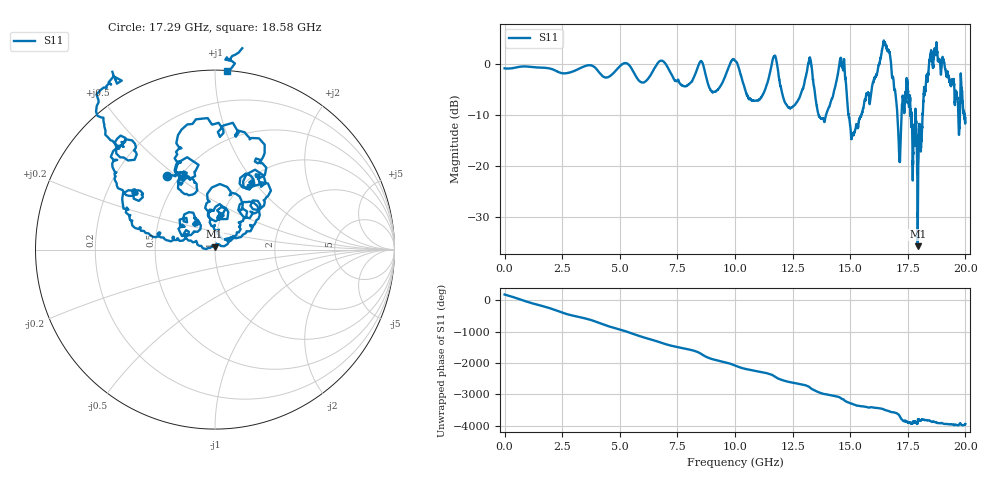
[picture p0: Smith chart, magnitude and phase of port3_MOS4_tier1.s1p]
! Created with skrf 1.8.0 (http://scikit-rf.org).
# GHz S RI R 50.0
!freq ReS11 ImS11
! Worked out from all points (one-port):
!   10001 points, 1 MHz to 20 GHz, reference 50 ohm
!   lowest |S11| = -35.7 dB at 17.93 GHz (marker M1), VSWR 1.03, Z = 49.7 + j1.61 ohm
!   |S11| at or under -10 dB: 13.63 GHz to 13.95 GHz (323.2 MHz wide, 2.34 % of centre); 14.93 GHz to 15.48 GHz (552.8 MHz wide, 3.63 % of centre); 17.85 GHz to 18.14 GHz (293.7 MHz wide, 1.63 % of centre) (the widest 3 of 11)
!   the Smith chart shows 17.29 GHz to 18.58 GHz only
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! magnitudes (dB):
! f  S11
! 1 MHz  -0.8
! 2.501 GHz  -1.7
! 5.001 GHz  -0.4
! 6.011 GHz  -3.6
! 6.833 GHz  0.7
! 7.501 GHz  -3.3
! 8.531 GHz  0.6
! 9.115 GHz  -5.4
! 10 GHz  0.7
! 10.91 GHz  -7.1
! 11.73 GHz  1.7
! 12.14 GHz  -7.1
! 12.5 GHz  -8.3
! 13.24 GHz  1.3
! 13.6 GHz  -9.4
! 13.86 GHz  -11.1
! 14.65 GHz  0.4
! 15 GHz  -11.9
! 15.9 GHz  -5.9
! 16.48 GHz  4.2
! 16.78 GHz  -0.3
! 17.12 GHz  -17.7
! 17.5 GHz  -4.7
! 17.93 GHz  -35.7
! 18.01 GHz  -12.1
! 18.41 GHz  -0.5
! 18.71 GHz  1.9
! 20 GHz  -10.5
